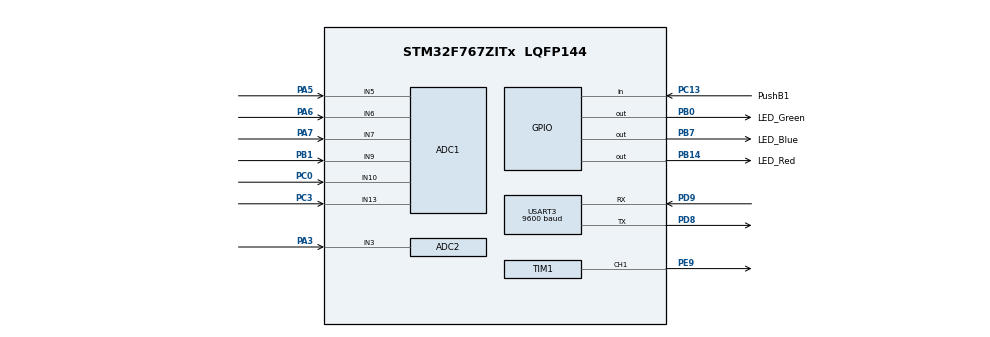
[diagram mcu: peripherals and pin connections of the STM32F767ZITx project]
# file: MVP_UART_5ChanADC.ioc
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ADC1.Channel-0\#ChannelRegularConversion=ADC_CHANNEL_10
ADC1.Channel-1\#ChannelRegularConversion=ADC_CHANNEL_5
ADC1.Channel-2\#ChannelRegularConversion=ADC_CHANNEL_6
ADC1.Channel-3\#ChannelRegularConversion=ADC_CHANNEL_7
ADC1.Channel-4\#ChannelRegularConversion=ADC_CHANNEL_9
ADC1.Channel-5\#ChannelRegularConversion=ADC_CHANNEL_13
ADC1.ClockPrescaler=ADC_CLOCK_SYNC_PCLK_DIV4
ADC1.DMAContinuousRequests=ENABLE
ADC1.ExternalTrigConv=ADC_EXTERNALTRIGCONV_T1_TRGO
ADC1.NbrOfConversion=6
ADC1.NbrOfConversionFlag=1
ADC1.Rank-0\#ChannelRegularConversion=1
ADC1.Rank-1\#ChannelRegularConversion=2
ADC1.Rank-2\#ChannelRegularConversion=3
ADC1.Rank-3\#ChannelRegularConversion=4
ADC1.Rank-4\#ChannelRegularConversion=5
ADC1.Rank-5\#ChannelRegularConversion=6
ADC1.SamplingTime-0\#ChannelRegularConversion=ADC_SAMPLETIME_3CYCLES
ADC1.SamplingTime-1\#ChannelRegularConversion=ADC_SAMPLETIME_3CYCLES
ADC1.SamplingTime-2\#ChannelRegularConversion=ADC_SAMPLETIME_3CYCLES
ADC1.SamplingTime-3\#ChannelRegularConversion=ADC_SAMPLETIME_3CYCLES
ADC1.SamplingTime-4\#ChannelRegularConversion=ADC_SAMPLETIME_3CYCLES
ADC1.SamplingTime-5\#ChannelRegularConversion=ADC_SAMPLETIME_3CYCLES
ADC1.master=1
ADC2.Channel-0\#ChannelRegularConversion=ADC_CHANNEL_3
ADC2.ClockPrescaler=ADC_CLOCK_SYNC_PCLK_DIV4
ADC2.ExternalTrigConv=ADC_EXTERNALTRIGCONV_T1_TRGO
ADC2.NbrOfConversionFlag=1
ADC2.Rank-0\#ChannelRegularConversion=1
ADC2.SamplingTime-0\#ChannelRegularConversion=ADC_SAMPLETIME_3CYCLES
Dma.ADC1.0.Direction=DMA_PERIPH_TO_MEMORY
Dma.ADC1.0.FIFOMode=DMA_FIFOMODE_DISABLE
Dma.ADC1.0.Instance=DMA2_Stream0
Dma.ADC1.0.MemDataAlignment=DMA_MDATAALIGN_HALFWORD
Dma.ADC1.0.MemInc=DMA_MINC_ENABLE
Dma.ADC1.0.Mode=DMA_CIRCULAR
Dma.ADC1.0.PeriphDataAlignment=DMA_PDATAALIGN_HALFWORD
Dma.ADC1.0.PeriphInc=DMA_PINC_DISABLE
Dma.ADC1.0.Priority=DMA_PRIORITY_MEDIUM
Dma.Request0=ADC1
Dma.Request1=USART3_RX
Dma.USART3_RX.1.Direction=DMA_PERIPH_TO_MEMORY
Dma.USART3_RX.1.FIFOMode=DMA_FIFOMODE_DISABLE
Dma.USART3_RX.1.Instance=DMA1_Stream1
Dma.USART3_RX.1.MemDataAlignment=DMA_MDATAALIGN_BYTE
Dma.USART3_RX.1.MemInc=DMA_MINC_ENABLE
Dma.USART3_RX.1.Mode=DMA_NORMAL
Dma.USART3_RX.1.PeriphDataAlignment=DMA_PDATAALIGN_BYTE
Dma.USART3_RX.1.PeriphInc=DMA_PINC_DISABLE
Dma.USART3_RX.1.Priority=DMA_PRIORITY_LOW
Mcu.Family=STM32F7
Mcu.Name=STM32F767ZITx
Mcu.Package=LQFP144
NVIC.ADC_IRQn=true\:0\:0\:false\:false\:true\:true\:true\:true
NVIC.DMA1_Stream1_IRQn=true\:0\:0\:false\:false\:true\:false\:true\:true
NVIC.DMA2_Stream0_IRQn=true\:0\:0\:false\:false\:true\:false\:true\:true
NVIC.PriorityGroup=NVIC_PRIORITYGROUP_4
NVIC.TIM1_BRK_TIM9_IRQn=true\:0\:0\:false\:false\:true\:true\:true\:true
NVIC.TIM1_TRG_COM_TIM11_IRQn=true\:0\:0\:false\:false\:true\:true\:true\:true
NVIC.USART3_IRQn=true\:0\:0\:false\:false\:true\:true\:true\:true
PA13.Mode=Serial_Wire
PA13.Signal=SYS_JTMS-SWDIO
PA14.Mode=Serial_Wire
PA14.Signal=SYS_JTCK-SWCLK
PA3.Signal=ADCx_IN3
PA5.Signal=ADCx_IN5
PA6.Signal=ADCx_IN6
PA7.Signal=ADCx_IN7
PB0.GPIO_Label=LED_Green
PB0.Signal=GPIO_Output
PB1.Signal=ADCx_IN9
PB14.GPIO_Label=LED_Red
PB14.Signal=GPIO_Output
PB7.GPIO_Label=LED_Blue
PB7.Signal=GPIO_Output
PC0.Signal=ADCx_IN10
PC13.GPIO_Label=PushB1
PC13.Signal=GPIO_Input
PC3.Signal=ADCx_IN13
PD8.Mode=Asynchronous
PD8.Signal=USART3_TX
PD9.Mode=Asynchronous
PD9.Signal=USART3_RX
PE9.Signal=S_TIM1_CH1
ProjectManager.HeapSize=0x200
ProjectManager.StackSize=0x400
ProjectManager.TargetToolchain=STM32CubeIDE
RCC.HSE_VALUE=25000000
RCC.HSI_VALUE=16000000
RCC.LSE_VALUE=32768
RCC.USBFreq_Value=96000000
RCC.VCOOutputFreq_Value=192000000
SH.ADCx_IN10.0=ADC1_IN10,IN10
SH.ADCx_IN13.0=ADC1_IN13,IN13
SH.ADCx_IN3.0=ADC2_IN3,IN3
SH.ADCx_IN5.0=ADC1_IN5,IN5
SH.ADCx_IN6.0=ADC1_IN6,IN6
SH.ADCx_IN7.0=ADC1_IN7,IN7
SH.ADCx_IN9.0=ADC1_IN9,IN9
SH.S_TIM1_CH1.0=TIM1_CH1,PWM Generation1 CH1
TIM1.Channel-PWM\ Generation1\ CH1=TIM_CHANNEL_1
TIM1.Period=16000-1
TIM1.TIM_MasterOutputTrigger=TIM_TRGO_UPDATE
USART3.BaudRate=9600
USART3.OneBitSampling=UART_ONE_BIT_SAMPLE_ENABLE
USART3.OverSampling=UART_OVERSAMPLING_8
USART3.VirtualMode-Asynchronous=VM_ASYNC
VP_TIM1_VS_ClockSourceINT.Mode=Internal
board=custom

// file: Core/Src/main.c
/* USER CODE BEGIN Header */
/**
  ******************************************************************************
  * @file           : main.c
  * @brief          : Main program body
  ******************************************************************************
  * @attention
  *
  * Copyright (c) 2023 STMicroelectronics.
  * All rights reserved.
  *
  * This software is licensed under terms that can be found in the LICENSE file
  * in the root directory of this software component.
  * If no LICENSE file comes with this software, it is provided AS-IS.
  *
  ******************************************************************************
  */
/* USER CODE END Header */
#include "main.h"

/* USER CODE BEGIN PD */

//Used to Control Length of USBbuffer
#define txBuffSize 8
#define rxBuffSize 13

//should match number of channels on ADC1 and ADC2
#define numOfChansADC1 6
#define numOfChansADC2 1
#define numberOfLimbs 6
/* USER CODE END PD */

ADC_HandleTypeDef hadc1;
ADC_HandleTypeDef hadc2;
DMA_HandleTypeDef hdma_adc1;

TIM_HandleTypeDef htim1;

UART_HandleTypeDef huart3;
DMA_HandleTypeDef hdma_usart3_rx;

/* USER CODE BEGIN PV */

enum Sensor
{
	LL,
	LU,
	RL,
	RU,
	Bdy,
	Hd,
};

static uint8_t exoCounter[numberOfLimbs] = { 0 };
static uint16_t exoThresh[numberOfLimbs] = { 0 };
static int8_t exoCurrentState[numberOfLimbs] = { 0 };
static uint16_t exoStateCounter[numberOfLimbs] = { 0 };
struct errorCode
{
	uint8_t sensorCode;
	uint8_t comCode;
};

enum Sensor selectADC = LL;

//ADC PVs
volatile uint16_t Adc1Results[numOfChansADC1];
volatile uint16_t ADC2_val = 0;
uint16_t Adc1Loop[numOfChansADC1] = {0};
uint16_t ADC2_LoopVal = 0;

//GPIO PVs
uint8_t buttonStatus = 0;
uint8_t buttonPrevious = 0;
//

//UART PVs
//use this to define number of consecutive highs before reset
uint16_t sensrErrCntThresh = 200;
//uint8_t txBuffer[txBuffSize] = { 'H', 'e', 'l', 'l', 'o', ' ', 'W', 'o', 'r', 'l', 'd', '\r', '\n' };
uint8_t txBuffer[txBuffSize] = {1,2,3,4,5,6,7,8};
uint8_t rxBuffer[rxBuffSize];

uint8_t rxStorageBuffer[rxBuffSize];

//DEBUGING Vars

HAL_StatusTypeDef ADC1Status; //return status of ADC1 for debugging
HAL_StatusTypeDef ADC2Status; //return status of ADC2 for debugging
HAL_StatusTypeDef timer1Status; //return status of timer 1 for debugging
HAL_StatusTypeDef txStatus; //return status on tranmit for debugging
HAL_StatusTypeDef rxStatus; //return status on receive for debugging

/* USER CODE END PV */

void SystemClock_Config(void);
static void MX_GPIO_Init(void);
static void MX_DMA_Init(void);
static void MX_ADC2_Init(void);
static void MX_ADC1_Init(void);
static void MX_TIM1_Init(void);
static void MX_USART3_UART_Init(void);
/* USER CODE BEGIN PFP */

//Three reset functions for createing structs
void resetExoHitVars();
struct errorCode ReseterrorCode(void);

void calibrateSensor();
/* USER CODE END PFP */

int main(void)
{
  /* USER CODE BEGIN 1 */

	//Initialize EXO arrays ( should be 5

	resetExoHitVars();
	uint8_t Adbug1 = sizeof(exoThresh);
	//set max threshold for all channels
	for (int i = 0; i < numOfChansADC1; i++)
	{
		exoThresh[i] = 0xFFFF;
	}

	struct errorCode myErrorCode = ReseterrorCode();

  /* USER CODE END 1 */

  /* MCU Configuration--------------------------------------------------------*/

  /* Reset of all peripherals, Initializes the Flash interface and the Systick. */
  HAL_Init();

  /* Configure the system clock */
  SystemClock_Config();

  /* Initialize all configured peripherals */
  MX_GPIO_Init();
  MX_DMA_Init();
  MX_ADC2_Init();
  MX_ADC1_Init();
  MX_TIM1_Init();
  MX_USART3_UART_Init();
  /* USER CODE BEGIN 2 */

	//Start Periferals
	if (HAL_ADC_Start_DMA(&hadc1, (uint32_t *)Adc1Results, sizeof(Adc1Results) / sizeof(Adc1Results[0])) != HAL_OK)
		Error_Handler();
	if (HAL_ADC_Start(&hadc2) != HAL_OK)
		Error_Handler();
	if (HAL_TIM_Base_Start_IT(&htim1) != HAL_OK)
		Error_Handler();
	if (HAL_TIM_PWM_Start(&htim1, TIM_CHANNEL_1) != HAL_OK)
		Error_Handler();

	//ConfigureDMA
	rxStatus = HAL_UARTEx_ReceiveToIdle_DMA(&huart3, rxBuffer, sizeof(rxBuffer) / sizeof(rxBuffer[0]));
	if (rxStatus != HAL_OK)
		Error_Handler();
	__HAL_DMA_DISABLE_IT(&hdma_usart3_rx, DMA_IT_HT); //remeber that I set DMA handel to extern in the .h file this may cause bugs

	HAL_GPIO_WritePin(GPIOE, GPIO_PIN_13, GPIO_PIN_RESET);
	//Base ADC Threshholds (need to calibrate final version
	exoThresh[0] =  1500; exoThresh[1] =  2450; exoThresh[2] =  950; exoThresh[3] =  250; exoThresh[4] =  3500; exoThresh[5] =  3500;
	//TODO add auto calibrate
	calibrateSensor();

  /* USER CODE END 2 */

  /* Infinite loop */
  /* USER CODE BEGIN WHILE */
	int loop;
	HAL_Delay(2000);
  while (1)
  {
	  //Update State of Controller

	  //Get adc valus
	  for (enum Sensor i = 0; i < numOfChansADC1; i++)
		  {
			  Adc1Loop[i] = Adc1Results[i];
		  }
	  ADC2_LoopVal = ADC2_val;
	  //Get PB values

	  //Get UART values
	  buttonStatus = HAL_GPIO_ReadPin(PushB1_GPIO_Port, PushB1_Pin);

	  	  //update ADC threshold values
	  if (buttonStatus == 1)
	  {
		  //increment channel counter
		  if (selectADC >= Hd)
		  {
			  selectADC = LL;
		  }
		  else
		  {
			  selectADC += 1;
		  }
		  // update threshold value
		  exoThresh[selectADC] = ADC2_LoopVal;
		  buttonStatus = 0;
		  HAL_Delay(100);
		  //TODO reset error state of sensor on value change (alows for retime reset and adjustments
	  }
		//compare ADC to Thresh and count hits
	  for (enum Sensor sensorPos = LL; sensorPos < numberOfLimbs; sensorPos++)
	  {
		  //check if sensor is in error state and if so leave it alone
		  if (exoCurrentState[sensorPos] != -1)
		  {
			  //set flag if threshold is exceded
			  if (Adc1Loop[sensorPos] > exoThresh[sensorPos])
			  {
				  exoCurrentState[sensorPos] = 1;
			  }
			  else
			  {
				  exoCurrentState[sensorPos] = 0;
			  }
		  }
	  }

	  uint8_t resetFlag = 0; //repalce this
	  //Reset Condition

	  if (rxStorageBuffer[0] == 'r')
	  {
		  resetFlag = 1;
		  rxStorageBuffer[0] = 0;
	  }
	  if (resetFlag == 1)
	  {
		  //reset exoCounter and state varibles
		  resetExoHitVars();
		  HAL_Delay(500);
		  resetFlag = 0;
	  }
	  else if(0) //error flag goes here
	  {
		  while (1)
		  {
			  //TODO add error Trap UART
			  __NOP();
		  }
	  }
	  else //check State of punches
	  {
		  // iterate across sensors and store valus sensor error flag is -1 on exoCurrent state which is handeled above
		  for (enum Sensor sensorPos = 0; sensorPos < numberOfLimbs; sensorPos++)
		  {
			  if ((exoCurrentState[sensorPos] == 1) && (exoStateCounter[sensorPos] == 0))
			  {
				  //
				  exoCounter[sensorPos] += 1;
				  exoStateCounter[sensorPos] += 1;
			  }
			  else if ((exoCurrentState[sensorPos] == 1) && (exoStateCounter[sensorPos]> 0) && (sensrErrCntThresh >= exoStateCounter[sensorPos]))
			  {
				  //
				  exoStateCounter[sensorPos] += 1;
			  }
			  //Entered Error State Must Reset System
			  else if((exoCurrentState[sensorPos] == 1) && (exoStateCounter[sensorPos] > sensrErrCntThresh))
			  {
				  exoCurrentState[sensorPos] = -1;
			  }
			  else if(exoCurrentState[sensorPos] == 0)
			  {
				  exoStateCounter[sensorPos] = 0;
			  }
			  else
			  {
				  __NOP(); //Illegal State;
			  }
		  }
	  }

//
//
	  //Send results to master
	  HAL_Delay(100);
	  	  for (int i = 0; i < numberOfLimbs; i++)
	  {
		  txBuffer[i] = (uint8_t) exoCounter[i];
	  }

	  txStatus = HAL_UART_Transmit(&huart3, txBuffer, sizeof(txBuffer) / sizeof(txBuffer[0]), 100);
	  //rxStatus = HAL_UART_Receive(&huart3, rxBuffer, sizeof(rxBuffer) / sizeof(rxBuffer[0]), 500);
	if(txStatus != HAL_OK)
		Error_Handler();

    /* USER CODE END WHILE */

  }
}

void SystemClock_Config(void)
{
  RCC_OscInitTypeDef RCC_OscInitStruct = {0};
  RCC_ClkInitTypeDef RCC_ClkInitStruct = {0};

  /** Configure the main internal regulator output voltage
  */
  __HAL_RCC_PWR_CLK_ENABLE();
  __HAL_PWR_VOLTAGESCALING_CONFIG(PWR_REGULATOR_VOLTAGE_SCALE3);

  /** Initializes the RCC Oscillators according to the specified parameters
  * in the RCC_OscInitTypeDef structure.
  */
  RCC_OscInitStruct.OscillatorType = RCC_OSCILLATORTYPE_HSI;
  RCC_OscInitStruct.HSIState = RCC_HSI_ON;
  RCC_OscInitStruct.HSICalibrationValue = RCC_HSICALIBRATION_DEFAULT;
  RCC_OscInitStruct.PLL.PLLState = RCC_PLL_NONE;
  if (HAL_RCC_OscConfig(&RCC_OscInitStruct) != HAL_OK)
  {
    Error_Handler();
  }

  /** Initializes the CPU, AHB and APB buses clocks
  */
  RCC_ClkInitStruct.ClockType = RCC_CLOCKTYPE_HCLK|RCC_CLOCKTYPE_SYSCLK
                              |RCC_CLOCKTYPE_PCLK1|RCC_CLOCKTYPE_PCLK2;
  RCC_ClkInitStruct.SYSCLKSource = RCC_SYSCLKSOURCE_HSI;
  RCC_ClkInitStruct.AHBCLKDivider = RCC_SYSCLK_DIV1;
  RCC_ClkInitStruct.APB1CLKDivider = RCC_HCLK_DIV1;
  RCC_ClkInitStruct.APB2CLKDivider = RCC_HCLK_DIV1;

  if (HAL_RCC_ClockConfig(&RCC_ClkInitStruct, FLASH_LATENCY_0) != HAL_OK)
  {
    Error_Handler();
  }
}

static void MX_ADC1_Init(void)
{

  ADC_ChannelConfTypeDef sConfig = {0};

  /** Configure the global features of the ADC (Clock, Resolution, Data Alignment and number of conversion)
  */
  hadc1.Instance = ADC1;
  hadc1.Init.ClockPrescaler = ADC_CLOCK_SYNC_PCLK_DIV4;
  hadc1.Init.Resolution = ADC_RESOLUTION_12B;
  hadc1.Init.ScanConvMode = ADC_SCAN_ENABLE;
  hadc1.Init.ContinuousConvMode = DISABLE;
  hadc1.Init.DiscontinuousConvMode = DISABLE;
  hadc1.Init.ExternalTrigConvEdge = ADC_EXTERNALTRIGCONVEDGE_RISING;
  hadc1.Init.ExternalTrigConv = ADC_EXTERNALTRIGCONV_T1_TRGO;
  hadc1.Init.DataAlign = ADC_DATAALIGN_RIGHT;
  hadc1.Init.NbrOfConversion = 6;
  hadc1.Init.DMAContinuousRequests = ENABLE;
  hadc1.Init.EOCSelection = ADC_EOC_SINGLE_CONV;
  if (HAL_ADC_Init(&hadc1) != HAL_OK)
  {
    Error_Handler();
  }

  /** Configure for the selected ADC regular channel its corresponding rank in the sequencer and its sample time.
  */
  sConfig.Channel = ADC_CHANNEL_10;
  sConfig.Rank = ADC_REGULAR_RANK_1;
  sConfig.SamplingTime = ADC_SAMPLETIME_3CYCLES;
  if (HAL_ADC_ConfigChannel(&hadc1, &sConfig) != HAL_OK)
  {
    Error_Handler();
  }

  /** Configure for the selected ADC regular channel its corresponding rank in the sequencer and its sample time.
  */
  sConfig.Channel = ADC_CHANNEL_5;
  sConfig.Rank = ADC_REGULAR_RANK_2;
  if (HAL_ADC_ConfigChannel(&hadc1, &sConfig) != HAL_OK)
  {
    Error_Handler();
  }

  /** Configure for the selected ADC regular channel its corresponding rank in the sequencer and its sample time.
  */
  sConfig.Channel = ADC_CHANNEL_6;
  sConfig.Rank = ADC_REGULAR_RANK_3;
  if (HAL_ADC_ConfigChannel(&hadc1, &sConfig) != HAL_OK)
  {
    Error_Handler();
  }

  /** Configure for the selected ADC regular channel its corresponding rank in the sequencer and its sample time.
  */
  sConfig.Channel = ADC_CHANNEL_7;
  sConfig.Rank = ADC_REGULAR_RANK_4;
  if (HAL_ADC_ConfigChannel(&hadc1, &sConfig) != HAL_OK)
  {
    Error_Handler();
  }

  /** Configure for the selected ADC regular channel its corresponding rank in the sequencer and its sample time.
  */
  sConfig.Channel = ADC_CHANNEL_9;
  sConfig.Rank = ADC_REGULAR_RANK_5;
  if (HAL_ADC_ConfigChannel(&hadc1, &sConfig) != HAL_OK)
  {
    Error_Handler();
  }

  /** Configure for the selected ADC regular channel its corresponding rank in the sequencer and its sample time.
  */
  sConfig.Channel = ADC_CHANNEL_13;
  sConfig.Rank = ADC_REGULAR_RANK_6;
  if (HAL_ADC_ConfigChannel(&hadc1, &sConfig) != HAL_OK)
  {
    Error_Handler();
  }

}

static void MX_ADC2_Init(void)
{

  ADC_ChannelConfTypeDef sConfig = {0};

  /** Configure the global features of the ADC (Clock, Resolution, Data Alignment and number of conversion)
  */
  hadc2.Instance = ADC2;
  hadc2.Init.ClockPrescaler = ADC_CLOCK_SYNC_PCLK_DIV4;
  hadc2.Init.Resolution = ADC_RESOLUTION_12B;
  hadc2.Init.ScanConvMode = ADC_SCAN_DISABLE;
  hadc2.Init.ContinuousConvMode = DISABLE;
  hadc2.Init.DiscontinuousConvMode = DISABLE;
  hadc2.Init.ExternalTrigConvEdge = ADC_EXTERNALTRIGCONVEDGE_RISING;
  hadc2.Init.ExternalTrigConv = ADC_EXTERNALTRIGCONV_T1_TRGO;
  hadc2.Init.DataAlign = ADC_DATAALIGN_RIGHT;
  hadc2.Init.NbrOfConversion = 1;
  hadc2.Init.DMAContinuousRequests = DISABLE;
  hadc2.Init.EOCSelection = ADC_EOC_SINGLE_CONV;
  if (HAL_ADC_Init(&hadc2) != HAL_OK)
  {
    Error_Handler();
  }

  /** Configure for the selected ADC regular channel its corresponding rank in the sequencer and its sample time.
  */
  sConfig.Channel = ADC_CHANNEL_3;
  sConfig.Rank = ADC_REGULAR_RANK_1;
  sConfig.SamplingTime = ADC_SAMPLETIME_3CYCLES;
  if (HAL_ADC_ConfigChannel(&hadc2, &sConfig) != HAL_OK)
  {
    Error_Handler();
  }

}

static void MX_TIM1_Init(void)
{

  TIM_ClockConfigTypeDef sClockSourceConfig = {0};
  TIM_MasterConfigTypeDef sMasterConfig = {0};
  TIM_OC_InitTypeDef sConfigOC = {0};
  TIM_BreakDeadTimeConfigTypeDef sBreakDeadTimeConfig = {0};

  htim1.Instance = TIM1;
  htim1.Init.Prescaler = 0;
  htim1.Init.CounterMode = TIM_COUNTERMODE_UP;
  htim1.Init.Period = 16000-1;
  htim1.Init.ClockDivision = TIM_CLOCKDIVISION_DIV1;
  htim1.Init.RepetitionCounter = 0;
  htim1.Init.AutoReloadPreload = TIM_AUTORELOAD_PRELOAD_DISABLE;
  if (HAL_TIM_Base_Init(&htim1) != HAL_OK)
  {
    Error_Handler();
  }
  sClockSourceConfig.ClockSource = TIM_CLOCKSOURCE_INTERNAL;
  if (HAL_TIM_ConfigClockSource(&htim1, &sClockSourceConfig) != HAL_OK)
  {
    Error_Handler();
  }
  if (HAL_TIM_PWM_Init(&htim1) != HAL_OK)
  {
    Error_Handler();
  }
  sMasterConfig.MasterOutputTrigger = TIM_TRGO_UPDATE;
  sMasterConfig.MasterOutputTrigger2 = TIM_TRGO2_RESET;
  sMasterConfig.MasterSlaveMode = TIM_MASTERSLAVEMODE_DISABLE;
  if (HAL_TIMEx_MasterConfigSynchronization(&htim1, &sMasterConfig) != HAL_OK)
  {
    Error_Handler();
  }
  sConfigOC.OCMode = TIM_OCMODE_PWM1;
  sConfigOC.Pulse = 0;
  sConfigOC.OCPolarity = TIM_OCPOLARITY_HIGH;
  sConfigOC.OCNPolarity = TIM_OCNPOLARITY_HIGH;
  sConfigOC.OCFastMode = TIM_OCFAST_DISABLE;
  sConfigOC.OCIdleState = TIM_OCIDLESTATE_RESET;
  sConfigOC.OCNIdleState = TIM_OCNIDLESTATE_RESET;
  if (HAL_TIM_PWM_ConfigChannel(&htim1, &sConfigOC, TIM_CHANNEL_1) != HAL_OK)
  {
    Error_Handler();
  }
  sBreakDeadTimeConfig.OffStateRunMode = TIM_OSSR_DISABLE;
  sBreakDeadTimeConfig.OffStateIDLEMode = TIM_OSSI_DISABLE;
  sBreakDeadTimeConfig.LockLevel = TIM_LOCKLEVEL_OFF;
  sBreakDeadTimeConfig.DeadTime = 0;
  sBreakDeadTimeConfig.BreakState = TIM_BREAK_DISABLE;
  sBreakDeadTimeConfig.BreakPolarity = TIM_BREAKPOLARITY_HIGH;
  sBreakDeadTimeConfig.BreakFilter = 0;
  sBreakDeadTimeConfig.Break2State = TIM_BREAK2_DISABLE;
  sBreakDeadTimeConfig.Break2Polarity = TIM_BREAK2POLARITY_HIGH;
  sBreakDeadTimeConfig.Break2Filter = 0;
  sBreakDeadTimeConfig.AutomaticOutput = TIM_AUTOMATICOUTPUT_DISABLE;
  if (HAL_TIMEx_ConfigBreakDeadTime(&htim1, &sBreakDeadTimeConfig) != HAL_OK)
  {
    Error_Handler();
  }
  HAL_TIM_MspPostInit(&htim1);

}

static void MX_USART3_UART_Init(void)
{

  huart3.Instance = USART3;
  huart3.Init.BaudRate = 9600;
  huart3.Init.WordLength = UART_WORDLENGTH_8B;
  huart3.Init.StopBits = UART_STOPBITS_1;
  huart3.Init.Parity = UART_PARITY_NONE;
  huart3.Init.Mode = UART_MODE_TX_RX;
  huart3.Init.HwFlowCtl = UART_HWCONTROL_NONE;
  huart3.Init.OverSampling = UART_OVERSAMPLING_8;
  huart3.Init.OneBitSampling = UART_ONE_BIT_SAMPLE_ENABLE;
  huart3.AdvancedInit.AdvFeatureInit = UART_ADVFEATURE_NO_INIT;
  if (HAL_UART_Init(&huart3) != HAL_OK)
  {
    Error_Handler();
  }

}

static void MX_DMA_Init(void)
{

  /* DMA controller clock enable */
  __HAL_RCC_DMA2_CLK_ENABLE();
  __HAL_RCC_DMA1_CLK_ENABLE();

  /* DMA interrupt init */
  /* DMA1_Stream1_IRQn interrupt configuration */
  HAL_NVIC_SetPriority(DMA1_Stream1_IRQn, 0, 0);
  HAL_NVIC_EnableIRQ(DMA1_Stream1_IRQn);
  /* DMA2_Stream0_IRQn interrupt configuration */
  HAL_NVIC_SetPriority(DMA2_Stream0_IRQn, 0, 0);
  HAL_NVIC_EnableIRQ(DMA2_Stream0_IRQn);

}

static void MX_GPIO_Init(void)
{
  GPIO_InitTypeDef GPIO_InitStruct = {0};

  /* GPIO Ports Clock Enable */
  __HAL_RCC_GPIOE_CLK_ENABLE();
  __HAL_RCC_GPIOC_CLK_ENABLE();
  __HAL_RCC_GPIOF_CLK_ENABLE();
  __HAL_RCC_GPIOH_CLK_ENABLE();
  __HAL_RCC_GPIOA_CLK_ENABLE();
  __HAL_RCC_GPIOB_CLK_ENABLE();
  __HAL_RCC_GPIOG_CLK_ENABLE();
  __HAL_RCC_GPIOD_CLK_ENABLE();

  /*Configure GPIO pin Output Level */
  HAL_GPIO_WritePin(GPIOB, LED_Green_Pin|LED_Red_Pin|LED_Blue_Pin, GPIO_PIN_RESET);

  /*Configure GPIO pins : PE2 PE3 PE4 PE5
                           PE6 PE7 PE8 PE10
                           PE11 PE12 PE13 PE14
                           PE15 PE0 PE1 */
  GPIO_InitStruct.Pin = GPIO_PIN_2|GPIO_PIN_3|GPIO_PIN_4|GPIO_PIN_5
                          |GPIO_PIN_6|GPIO_PIN_7|GPIO_PIN_8|GPIO_PIN_10
                          |GPIO_PIN_11|GPIO_PIN_12|GPIO_PIN_13|GPIO_PIN_14
                          |GPIO_PIN_15|GPIO_PIN_0|GPIO_PIN_1;
  GPIO_InitStruct.Mode = GPIO_MODE_ANALOG;
  GPIO_InitStruct.Pull = GPIO_NOPULL;
  HAL_GPIO_Init(GPIOE, &GPIO_InitStruct);

  /*Configure GPIO pin : PushB1_Pin */
  GPIO_InitStruct.Pin = PushB1_Pin;
  GPIO_InitStruct.Mode = GPIO_MODE_INPUT;
  GPIO_InitStruct.Pull = GPIO_NOPULL;
  HAL_GPIO_Init(PushB1_GPIO_Port, &GPIO_InitStruct);

  /*Configure GPIO pins : PC14 PC15 PC1 PC2
                           PC4 PC5 PC6 PC7
                           PC8 PC9 PC10 PC11
                           PC12 */
  GPIO_InitStruct.Pin = GPIO_PIN_14|GPIO_PIN_15|GPIO_PIN_1|GPIO_PIN_2
                          |GPIO_PIN_4|GPIO_PIN_5|GPIO_PIN_6|GPIO_PIN_7
                          |GPIO_PIN_8|GPIO_PIN_9|GPIO_PIN_10|GPIO_PIN_11
                          |GPIO_PIN_12;
  GPIO_InitStruct.Mode = GPIO_MODE_ANALOG;
  GPIO_InitStruct.Pull = GPIO_NOPULL;
  HAL_GPIO_Init(GPIOC, &GPIO_InitStruct);

  /*Configure GPIO pins : PF0 PF1 PF2 PF3
                           PF4 PF5 PF6 PF7
                           PF8 PF9 PF10 PF11
                           PF12 PF13 PF14 PF15 */
  GPIO_InitStruct.Pin = GPIO_PIN_0|GPIO_PIN_1|GPIO_PIN_2|GPIO_PIN_3
                          |GPIO_PIN_4|GPIO_PIN_5|GPIO_PIN_6|GPIO_PIN_7
                          |GPIO_PIN_8|GPIO_PIN_9|GPIO_PIN_10|GPIO_PIN_11
                          |GPIO_PIN_12|GPIO_PIN_13|GPIO_PIN_14|GPIO_PIN_15;
  GPIO_InitStruct.Mode = GPIO_MODE_ANALOG;
  GPIO_InitStruct.Pull = GPIO_NOPULL;
  HAL_GPIO_Init(GPIOF, &GPIO_InitStruct);

  /*Configure GPIO pins : PH0 PH1 */
  GPIO_InitStruct.Pin = GPIO_PIN_0|GPIO_PIN_1;
  GPIO_InitStruct.Mode = GPIO_MODE_ANALOG;
  GPIO_InitStruct.Pull = GPIO_NOPULL;
  HAL_GPIO_Init(GPIOH, &GPIO_InitStruct);

  /*Configure GPIO pins : PA0 PA1 PA2 PA4
                           PA8 PA9 PA10 PA11
                           PA12 PA15 */
  GPIO_InitStruct.Pin = GPIO_PIN_0|GPIO_PIN_1|GPIO_PIN_2|GPIO_PIN_4
                          |GPIO_PIN_8|GPIO_PIN_9|GPIO_PIN_10|GPIO_PIN_11
                          |GPIO_PIN_12|GPIO_PIN_15;
  GPIO_InitStruct.Mode = GPIO_MODE_ANALOG;
  GPIO_InitStruct.Pull = GPIO_NOPULL;
  HAL_GPIO_Init(GPIOA, &GPIO_InitStruct);

  /*Configure GPIO pins : LED_Green_Pin LED_Red_Pin LED_Blue_Pin */
  GPIO_InitStruct.Pin = LED_Green_Pin|LED_Red_Pin|LED_Blue_Pin;
  GPIO_InitStruct.Mode = GPIO_MODE_OUTPUT_PP;
  GPIO_InitStruct.Pull = GPIO_NOPULL;
  GPIO_InitStruct.Speed = GPIO_SPEED_FREQ_LOW;
  HAL_GPIO_Init(GPIOB, &GPIO_InitStruct);

  /*Configure GPIO pins : PB2 PB10 PB11 PB12
                           PB13 PB15 PB3 PB4
                           PB5 PB6 PB8 PB9 */
  GPIO_InitStruct.Pin = GPIO_PIN_2|GPIO_PIN_10|GPIO_PIN_11|GPIO_PIN_12
                          |GPIO_PIN_13|GPIO_PIN_15|GPIO_PIN_3|GPIO_PIN_4
                          |GPIO_PIN_5|GPIO_PIN_6|GPIO_PIN_8|GPIO_PIN_9;
  GPIO_InitStruct.Mode = GPIO_MODE_ANALOG;
  GPIO_InitStruct.Pull = GPIO_NOPULL;
  HAL_GPIO_Init(GPIOB, &GPIO_InitStruct);

  /*Configure GPIO pins : PG0 PG1 PG2 PG3
                           PG4 PG5 PG6 PG7
                           PG8 PG9 PG10 PG11
                           PG12 PG13 PG14 PG15 */
  GPIO_InitStruct.Pin = GPIO_PIN_0|GPIO_PIN_1|GPIO_PIN_2|GPIO_PIN_3
                          |GPIO_PIN_4|GPIO_PIN_5|GPIO_PIN_6|GPIO_PIN_7
                          |GPIO_PIN_8|GPIO_PIN_9|GPIO_PIN_10|GPIO_PIN_11
                          |GPIO_PIN_12|GPIO_PIN_13|GPIO_PIN_14|GPIO_PIN_15;
  GPIO_InitStruct.Mode = GPIO_MODE_ANALOG;
  GPIO_InitStruct.Pull = GPIO_NOPULL;
  HAL_GPIO_Init(GPIOG, &GPIO_InitStruct);

  /*Configure GPIO pins : PD10 PD11 PD12 PD13
                           PD14 PD15 PD0 PD1
                           PD2 PD3 PD4 PD5
                           PD6 PD7 */
  GPIO_InitStruct.Pin = GPIO_PIN_10|GPIO_PIN_11|GPIO_PIN_12|GPIO_PIN_13
                          |GPIO_PIN_14|GPIO_PIN_15|GPIO_PIN_0|GPIO_PIN_1
                          |GPIO_PIN_2|GPIO_PIN_3|GPIO_PIN_4|GPIO_PIN_5
                          |GPIO_PIN_6|GPIO_PIN_7;
  GPIO_InitStruct.Mode = GPIO_MODE_ANALOG;
  GPIO_InitStruct.Pull = GPIO_NOPULL;
  HAL_GPIO_Init(GPIOD, &GPIO_InitStruct);

}

/* USER CODE BEGIN 4 */
//functions
struct errorCode ReseterrorCode(void)
{

};

//function reset exoCounter, exoThresh, exoCurrentState
void resetExoHitVars()
{
	memset(exoCounter, 0, sizeof(exoCounter)*sizeof(exoCounter[0]));
	memset(exoCurrentState, 0, sizeof(exoCurrentState)* sizeof(exoCurrentState[0])); // Set Baseline by adjustment
	memset(exoStateCounter, 0, sizeof(exoStateCounter)*sizeof(exoStateCounter[0]));
}

void calibrateSensor()
{
	uint16_t channelMax[numberOfLimbs] = { 0 };
	uint16_t tempChannelStorage = 0;
	//obtain max values after running loop jn times
	for (uint16_t j = 0; j < 7000; j++)
	{
		for (enum Sensor i = 0; i < numOfChansADC1; i++)
		{
			tempChannelStorage = Adc1Results[i];
			if (tempChannelStorage  > channelMax[i])
			{
				channelMax[i] = tempChannelStorage;
			}
		}
		HAL_Delay(1);
	}

	//update threshhold
	for (enum Sensor sensorPos = 0; sensorPos < numberOfLimbs; sensorPos++)
	{

		exoThresh[sensorPos] = (uint16_t)((double)channelMax[sensorPos] * 1.3);
	}
}

//Modified HAL functions
void HAL_ADC_ConvCpltCallback(ADC_HandleTypeDef* hadc)
{
	asm("nop");
	ADC2_val = HAL_ADC_GetValue(&hadc2);
	HAL_ADC_Start_IT(&hadc2);
}

void HAL_UARTEx_RxEventCallback(UART_HandleTypeDef *huart, uint16_t Size)
{
  //USART3 section for host communication
  if (huart->Instance == USART3)
  {
    memcpy(rxStorageBuffer, rxBuffer, Size);
  }

  rxStatus = HAL_UARTEx_ReceiveToIdle_DMA(&huart3, rxBuffer, sizeof(rxBuffer) / sizeof(rxBuffer[0]));
  if (rxStatus != HAL_OK)
    Error_Handler();
  __HAL_DMA_DISABLE_IT(&hdma_usart3_rx, DMA_IT_HT); //remeber that I set DMA handel to extern in the .h file this may cause bugs
  HAL_GPIO_TogglePin(LED_Blue_GPIO_Port, LED_Blue_Pin);
}

/* USER CODE END 4 */

void Error_Handler(void)
{
  __disable_irq();
  while (1)
  {
  }
}
